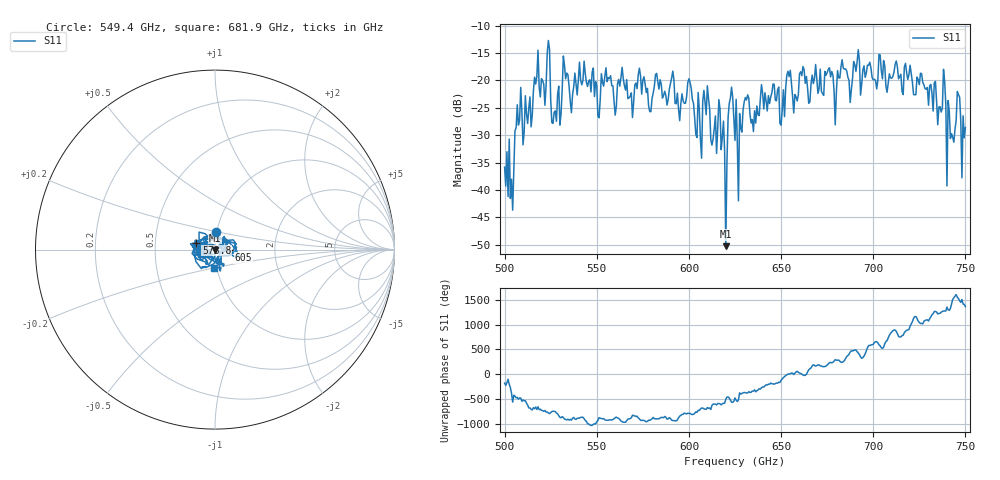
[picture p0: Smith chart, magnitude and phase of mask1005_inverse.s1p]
!Created with skrf (http://scikit-rf.org).
# GHz S MA R 50.0
!freq magS11 angS11
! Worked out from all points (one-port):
!   401 points, 500 GHz to 750 GHz, reference 50 ohm
!   lowest |S11| = -50.3 dB at 620 GHz (marker M1), VSWR 1.01, Z = 49.8 - j0.208 ohm
!   |S11| at or under -10 dB: start of sweep to end of sweep
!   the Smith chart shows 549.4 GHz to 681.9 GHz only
!   S11 on the Smith chart (normalised r, x): 549.4 GHz: 0.99, +0.19; 573.8 GHz: 0.81, +0.06; 605 GHz: 1.17, -0.00; 681.9 GHz: 0.96, -0.20
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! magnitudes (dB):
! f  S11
! 500 GHz  -35.8
! 504.4 GHz  -43.7
! 507.5 GHz  -28.2
! 513.8 GHz  -23.0
! 516.9 GHz  -20.7
! 523.8 GHz  -12.7
! 526.9 GHz  -25.8
! 531.2 GHz  -21.6
! 549.4 GHz  -20.2
! 562.5 GHz  -21.1
! 568.8 GHz  -22.3
! 573.8 GHz  -19.2
! 593.8 GHz  -22.3
! 600.6 GHz  -20.4
! 605 GHz  -22.2
! 609.4 GHz  -26.3
! 620 GHz  -50.3
! 622.5 GHz  -23.3
! 625 GHz  -31.0
! 627.5 GHz  -26.1
! 631.2 GHz  -23.6
! 635 GHz  -29.4
! 656.2 GHz  -22.9
! 681.9 GHz  -19.6
! 687.5 GHz  -24.0
! 718.8 GHz  -19.8
! 741.2 GHz  -25.6
! 750 GHz  -28.6
